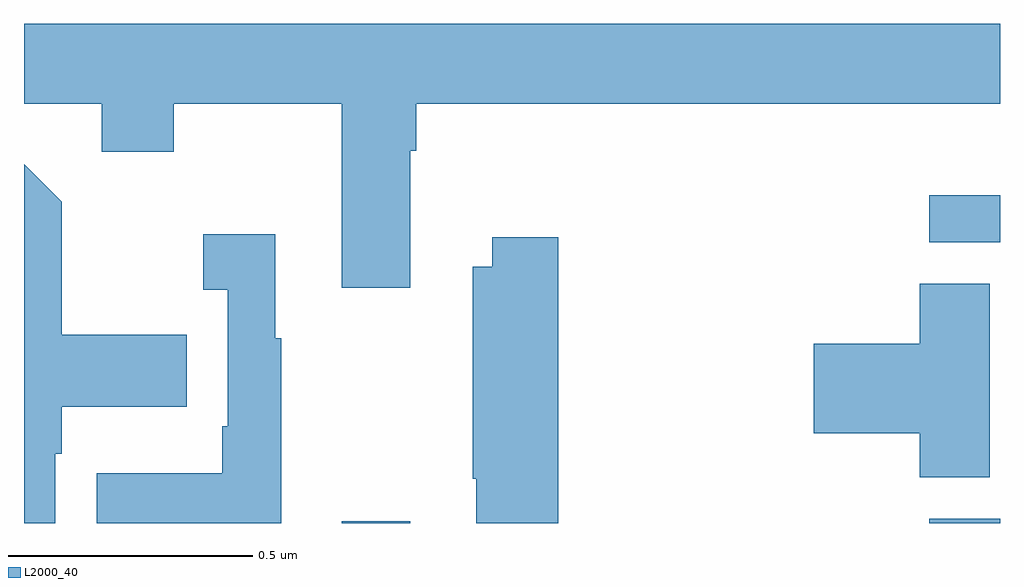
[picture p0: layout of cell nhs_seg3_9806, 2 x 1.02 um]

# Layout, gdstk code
import gdstk
lib = gdstk.Library(unit=1e-6, precision=1e-09)
def R(c, l, rs):  # rectangles x0, y0, x1, y1
    for r in rs: c.add(gdstk.rectangle(r[:2], r[2:], *l))
def P(c, l, *ps):  # polygons
    for p in ps: c.add(gdstk.Polygon(p, *l))
L2000_40 = (2000, 40)

nhs_seg3_9806 = lib.new_cell('nhs_seg3_9806')
R(nhs_seg3_9806, L2000_40, [(233.651,689.4,233.791,689.404), (234.855,689.4,235,689.409), (234.855,689.976,235,690.072)])
P(nhs_seg3_9806, L2000_40, [(233,690.26),(233.159,690.26),(233.159,690.161),(233.307,690.161),(233.307,690.26),(233.651,690.26),(233.651,689.883),(233.791,689.883),(233.791,690.164),(233.804,690.164),(233.804,690.26),(235,690.26),(235,690.424),(233,690.424)],
  [(233.064,689.543),(233.077,689.543),(233.077,689.639),(233.333,689.639),(233.333,689.787),(233.077,689.787),(233.077,690.059),(233,690.136),(233,689.4),(233.064,689.4)],
  [(233.527,689.779),(233.515,689.779),(233.515,689.992),(233.367,689.992),(233.367,689.879),(233.418,689.879),(233.418,689.599),(233.406,689.599),(233.406,689.503),(233.149,689.503),(233.149,689.4),(233.527,689.4)],
  [(234.095,689.986),(233.96,689.986),(233.96,689.926),(233.92,689.926),(233.92,689.491),(233.927,689.491),(233.927,689.4),(234.095,689.4)],
  [(234.979,689.891),(234.836,689.891),(234.836,689.768),(234.618,689.768),(234.618,689.585),(234.836,689.585),(234.836,689.494),(234.979,689.494)])

lib.write_gds('nhs_seg3_9806.gds')
